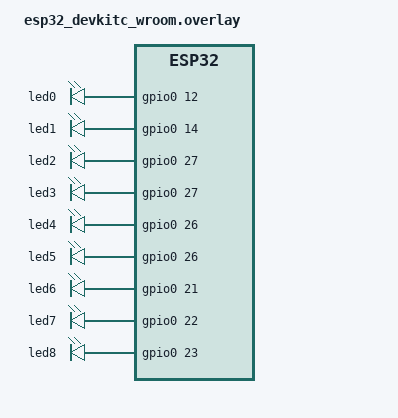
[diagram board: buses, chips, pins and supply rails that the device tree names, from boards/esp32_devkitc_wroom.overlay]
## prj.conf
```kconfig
CONFIG_CONSOLE_SUBSYS=y
CONFIG_CONSOLE_GETLINE=y

# Enable GPIO driver
CONFIG_GPIO=y
# Enable logging (so you see messages over UART)
CONFIG_LOG=y
CONFIG_LOG_DEFAULT_LEVEL=3
CONFIG_ESP32_USE_UNSUPPORTED_REVISION=y

CONFIG_SERIAL=y
CONFIG_UART_CONSOLE=y
```

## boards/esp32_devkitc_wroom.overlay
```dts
/ {
    aliases {
        my-led = &led0;
    };

    leds {
        compatible = "gpio-leds";
        led0: led_12 {
            gpios = <&gpio0 12 GPIO_ACTIVE_HIGH>;
        };
        led1: led_14 {
            gpios = <&gpio0 14 GPIO_ACTIVE_HIGH>;
        };
        led2: led_27_a {
            gpios = <&gpio0 27 GPIO_ACTIVE_HIGH>;
        };
        led3: led_27_b {
            gpios = <&gpio0 27 GPIO_ACTIVE_HIGH>; // same pin shared intentionally?
        };
        led4: led_26_a {
            gpios = <&gpio0 26 GPIO_ACTIVE_HIGH>;
        };
        led5: led_26_b {
            gpios = <&gpio0 26 GPIO_ACTIVE_HIGH>; // duplicate pin, but label unique
        };
        led6: led_21 {
            gpios = <&gpio0 21 GPIO_ACTIVE_HIGH>;
        }; 
        led7: led_22 {
            gpios = <&gpio0 22 GPIO_ACTIVE_HIGH>;
        };
        led8: led_23 {
            gpios = <&gpio0 23 GPIO_ACTIVE_HIGH>;
        };
        // Note: GPIO34-39 are input-only on ESP32; avoid for LEDs
        // led9 would be invalid if using 35. Commenting out.
        // led9: led_35 { gpios = <&gpio0 35 GPIO_ACTIVE_HIGH>; };
        };     
};
```

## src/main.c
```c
#include <stdio.h>
#include <zephyr/kernel.h>
#include <zephyr/drivers/gpio.h>
#include <zephyr/console/console.h>

// Sleep settings
static const int32_t blink_max_ms = 2000;
static const int32_t blink_min_ms = 0;

// Stack size settings
#define BLINK_THREAD_STACK_SIZE 512
#define INPUT_THREAD_STACK_SIZE 512

// Define stack areas for the threads
K_THREAD_STACK_DEFINE(blink_stack, BLINK_THREAD_STACK_SIZE);
K_THREAD_STACK_DEFINE(input_stack, INPUT_THREAD_STACK_SIZE);

// Declare thread data structs
static struct k_thread blink_thread; // Thread Control Block
static struct k_thread input_thread; // Thread Control Block

// Define mutex
K_MUTEX_DEFINE(my_mutex);

// Define shared blink sleep value
static int32_t blink_sleep_ms = 500;

// Get LED struct from Devicetree
// const struct gpio_dt_spec led = GPIO_DT_SPEC_GET(DT_ALIAS(my_led), gpios);
static const struct gpio_dt_spec leds[] = {
    GPIO_DT_SPEC_GET(DT_NODELABEL(led0), gpios),
    GPIO_DT_SPEC_GET(DT_NODELABEL(led1), gpios),
    GPIO_DT_SPEC_GET(DT_NODELABEL(led2), gpios),
    GPIO_DT_SPEC_GET(DT_NODELABEL(led3), gpios),
    GPIO_DT_SPEC_GET(DT_NODELABEL(led4), gpios),
    GPIO_DT_SPEC_GET(DT_NODELABEL(led5), gpios),
    GPIO_DT_SPEC_GET(DT_NODELABEL(led6), gpios),
    GPIO_DT_SPEC_GET(DT_NODELABEL(led7), gpios),
    GPIO_DT_SPEC_GET(DT_NODELABEL(led8), gpios),
};


// Console input thread entry point
void input_thread_start(void *arg_1, void *arg_2, void *arg_3)
{
    int8_t inc;

    printk("Starting input thread\r\n");

    while (1) {

        // Get line from console (blocking)
        const char *line = console_getline();

        // See if first character is + or -
        if (line[0] == '+') {
            inc = 1;
        } else if (line[0] == '-') {
            inc = -1;
        } else {
            continue;
        }

        // Increase or decrease wait time and bound the value
        // Use the mutex to prvent other threads from accessing the variable
        // during the update
        k_mutex_lock(&my_mutex, K_FOREVER);
        blink_sleep_ms += (int32_t)inc * 100;
        if (blink_sleep_ms > blink_max_ms) {
            blink_sleep_ms = blink_max_ms;
        } else if (blink_sleep_ms < blink_min_ms) {
            blink_sleep_ms = blink_min_ms;
        }
        k_mutex_unlock(&my_mutex);

        // Print the new sleep time
        printk("Updating blink sleep to: %d\r\n", blink_sleep_ms);

        printk("From input thread: blink_sleep_ms @ %p\n", (void *)&blink_sleep_ms);
    }
}

// Blink thread entry point
void blink_thread_start(void *arg_1, void *arg_2, void *arg_3)
{
    int32_t sleep_ms;

    printk("Starting blink thread\r\n");

    while (1) {

        // Update the sleep time. Protected with a mutex.
        k_mutex_lock(&my_mutex, K_FOREVER);
        sleep_ms = blink_sleep_ms;
        k_mutex_unlock(&my_mutex);

        for (size_t i = 0; i < ARRAY_SIZE(leds); i++) {
            for (size_t j = 0; j < ARRAY_SIZE(leds); j++) {
                gpio_pin_set_dt(&leds[j], 0);
            }

            int ret_set = gpio_pin_set_dt(&leds[i], 1);
            if (ret_set < 0) {
                printk("Error: could not toggle LED %d\r\n", (int)i);
            }
            k_msleep(sleep_ms);
        }

        printk("From blink thread: blink_sleep_ms @ %p\n", (void *)&blink_sleep_ms);  
    }
    
}


int main(void)
{
    k_tid_t input_tid;
    k_tid_t blink_tid;
    int ret;

    for (size_t i = 0; i < ARRAY_SIZE(leds); i++) {
        if (!gpio_is_ready_dt(&leds[i])) {
            printk("LED %d not ready\n", (int)i);
            return 0;
        }
        // Set the GPIO as output
        ret = gpio_pin_configure_dt(&leds[i], GPIO_OUTPUT);
        if (ret < 0) {
            printk("Error: Could not configure GPIO\r\n");
            return 0;
        }
    }

    // Initialize the console
    console_getline_init();

    // Start the input thread
    input_tid = k_thread_create(&input_thread,          // Thread struct
                                input_stack,            // Stack
                                K_THREAD_STACK_SIZEOF(input_stack),
                                input_thread_start,     // Entry point
                                NULL,                   // arg_1
                                NULL,                   // arg_2
                                NULL,                   // arg_3
                                7,                      // Priority
                                0,                      // Options
                                K_NO_WAIT);             // Delay

    // Start the blink thread
    blink_tid = k_thread_create(&blink_thread,          // Thread struct
                                blink_stack,            // Stack
                                K_THREAD_STACK_SIZEOF(blink_stack),
                                blink_thread_start,     // Entry point
                                NULL,                   // arg_1
                                NULL,                   // arg_2
                                NULL,                   // arg_3
                                8,                      // Priority
                                0,                      // Options
                                K_NO_WAIT);             // Delay

    // Do forever
    while (1) {
        k_msleep(1000);
    }

    return 0;
}
```
